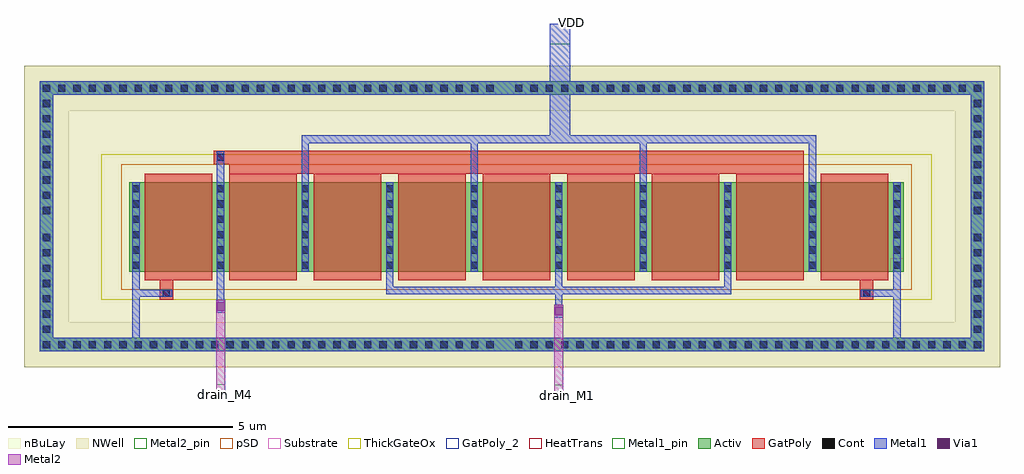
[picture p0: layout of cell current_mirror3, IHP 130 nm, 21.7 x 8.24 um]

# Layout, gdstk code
from math import pi, radians
import gdstk
lib = gdstk.Library(unit=1e-6, precision=5e-09)
def R(c, l, rs):  # rectangles x0, y0, x1, y1
    for r in rs: c.add(gdstk.rectangle(r[:2], r[2:], *l))
def A(c, l, x, y, w, h, nx, ny, dx, dy):  # array of equal rectangles
    R(c, l, [(x+i*dx, y+j*dy, x+i*dx+w, y+j*dy+h) for i in range(nx) for j in range(ny)])
def P(c, l, *ps):  # polygons
    for p in ps: c.add(gdstk.Polygon(p, *l))
Activ = (1, 0)
GatPoly = (5, 0)
GatPoly_2 = (5, 2)
Cont = (6, 0)
Metal1 = (8, 0)
Metal1_pin = (8, 2)
Metal2 = (10, 0)
Metal2_pin = (10, 2)
pSD = (14, 0)
Via1 = (19, 0)
NWell = (31, 0)
nBuLay = (32, 0)
Substrate = (40, 0)
ThickGateOx = (44, 0)
HeatTrans = (51, 0)

pmoshv_4 = lib.new_cell('pmosHV$4')
A(pmoshv_4, Activ, 0, 0, 0.3, 0.3, 10, 1, 1.88, 0)
R(pmoshv_4, Activ, [(0,0,17.22,2)])
A(pmoshv_4, GatPoly, 0.34, -0.18, 1.5, 2.36, 9, 1, 1.88, 0)
R(pmoshv_4, GatPoly_2, [(0.34,-0.18,1.84,2.18)])
A(pmoshv_4, Cont, 0.07, 0.07, 0.16, 0.16, 10, 6, 1.88, 0.34)
A(pmoshv_4, Metal1, 0.07, 0, 0.16, 2, 10, 1, 1.88, 0)
R(pmoshv_4, Metal1_pin, [(0.07,0,0.23,2), (1.95,0,2.11,2)])
R(pmoshv_4, pSD, [(-0.18,-0.4,17.4,2.4)])
R(pmoshv_4, NWell, [(-0.62,-0.62,17.84,2.62)])
R(pmoshv_4, Substrate, [(16.92,0,17.22,0.3)])
R(pmoshv_4, ThickGateOx, [(-0.62,-0.62,17.84,2.62)])
A(pmoshv_4, HeatTrans, 0.34, -0.18, 1.5, 2.36, 9, 1, 1.88, 0)
pmoshv_4.add(gdstk.Label('pmosHV', (1.09,1), layer=63, texttype=0))
pmoshv_4.add(gdstk.Label('pmos', (1.09,1), layer=51, texttype=0))
pmoshv_4.add(gdstk.Label('pmos', (2.97,1), layer=51, texttype=0))
pmoshv_4.add(gdstk.Label('pmos', (4.85,1), layer=51, texttype=0))
pmoshv_4.add(gdstk.Label('pmos', (6.73,1), layer=51, texttype=0))
pmoshv_4.add(gdstk.Label('pmos', (8.61,1), layer=51, texttype=0))
pmoshv_4.add(gdstk.Label('pmos', (10.49,1), layer=51, texttype=0))
pmoshv_4.add(gdstk.Label('pmos', (12.37,1), layer=51, texttype=0))
pmoshv_4.add(gdstk.Label('pmos', (14.25,1), layer=51, texttype=0))
pmoshv_4.add(gdstk.Label('pmos', (16.13,1), layer=51, texttype=0))

guard_ring_10 = lib.new_cell('guard_ring$10')
R(guard_ring_10, Activ, [(-10.5,-2.7,-10.2,2.7), (10.2,-2.7,10.5,2.7), (-10.5,2.7,10.5,3)])
P(guard_ring_10, Activ, [(-10.5,-3),(-10.5,2.7),(-10.2,2.7),(-10.2,-2.7),(10.2,-2.7),(10.2,2.7),(-10.5,2.7),(-10.5,3),(10.5,3),(10.5,-3)])
A(guard_ring_10, Cont, -10.43, -2.93, 0.16, 0.16, 30, 2, 0.34, 5.7)
A(guard_ring_10, Cont, 0.07, -2.93, 0.16, 0.16, 31, 2, 0.34, 5.7)
A(guard_ring_10, Cont, -10.43, -2.59, 0.16, 0.16, 1, 7, 0, 0.34)
A(guard_ring_10, Cont, 10.27, -2.59, 0.16, 0.16, 1, 7, 0, 0.34)
A(guard_ring_10, Cont, -10.43, 0.05, 0.16, 0.16, 1, 8, 0, 0.34)
A(guard_ring_10, Cont, 10.27, 0.05, 0.16, 0.16, 1, 8, 0, 0.34)
R(guard_ring_10, Metal1, [(-10.5,-3,10.5,-2.7), (-10.5,-2.7,-10.2,2.7), (10.2,-2.7,10.5,2.7), (-10.5,2.7,10.5,3)])
R(guard_ring_10, NWell, [(-10.85,-3.35,10.85,3.35)])
R(guard_ring_10, nBuLay, [(-10.85,-2.35,-9.85,2.35), (9.85,-2.35,10.85,2.35), (-10.85,2.35,10.85,3.35)])
P(guard_ring_10, nBuLay, [(-10.85,-3.35),(-10.85,2.35),(-9.85,2.35),(-9.85,-2.35),(9.85,-2.35),(9.85,2.35),(-10.85,2.35),(-10.85,3.35),(10.85,3.35),(10.85,-3.35)])
guard_ring_10.add(gdstk.Label('well', (0,-2.85), layer=63, texttype=0))

via_stack = lib.new_cell('via_stack')
R(via_stack, Metal1, [(-0.145,-0.105,0.145,0.105)])
R(via_stack, Metal2, [(-0.145,-0.1,0.145,0.1)])
R(via_stack, Via1, [(-0.095,-0.095,0.095,0.095)])

via_stack_5 = lib.new_cell('via_stack$5')
R(via_stack_5, GatPoly, [(-0.15,-0.15,0.15,0.15)])
R(via_stack_5, Cont, [(-0.08,-0.08,0.08,0.08)])
R(via_stack_5, Metal1, [(-0.13,-0.08,0.13,0.08)])

current_mirror3 = lib.new_cell('current_mirror3')
R(current_mirror3, GatPoly, [(0.275,0.595,0.575,1.215), (0.275,0.595,0.575,1.215), (15.845,0.595,16.145,1.215), (15.845,0.595,16.145,1.215), (1.82,3.395,14.6,3.915), (1.48,3.615,2.02,3.915)])
R(current_mirror3, Metal1, [(-0.33,-0.55,-0.17,0.825), (16.59,-0.55,16.75,0.825), (9.045,0.2,9.255,0.49), (9.07,0.2,9.23,1.445), (1.53,0.305,1.74,0.595), (1.55,0.305,1.71,1.445), (-0.33,0.665,0.555,0.825), (-0.33,0.665,0.555,0.825), (-0.33,0.665,-0.17,1.445), (-0.33,0.665,-0.17,1.445), (15.865,0.665,16.75,0.825), (15.865,0.665,16.75,0.825), (16.59,0.665,16.75,1.445), (16.59,0.665,16.75,1.445), (5.31,0.725,12.99,0.885), (5.31,0.725,5.47,1.445), (12.83,0.725,12.99,1.445), (10.95,2.98,11.11,4.25), (1.55,2.985,1.71,3.895), (3.43,2.985,3.59,4.25), (7.19,2.985,7.35,4.25), (14.71,2.985,14.87,4.25), (3.43,4.08,14.87,4.25), (8.95,4.08,9.4,6.735)])
R(current_mirror3, Metal1_pin, [(8.95,6.28,9.4,6.735)])
R(current_mirror3, Metal2, [(1.535,-1.505,1.735,0.595), (9.05,-1.5,9.25,0.49)])
R(current_mirror3, Metal2_pin, [(1.535,-1.505,1.735,-1.285), (9.05,-1.5,9.25,-1.295)])
current_mirror3.add(gdstk.Reference(pmoshv_4, (-0.4,1.215)))
current_mirror3.add(gdstk.Reference(guard_ring_10, (8.11,2.45)))
current_mirror3.add(gdstk.Reference(via_stack, (9.15,0.345), rotation=pi/2))
current_mirror3.add(gdstk.Reference(via_stack_5, (15.995,0.745)))
current_mirror3.add(gdstk.Reference(via_stack_5, (15.995,0.745)))
current_mirror3.add(gdstk.Reference(via_stack_5, (0.425,0.745), rotation=pi, x_reflection=True))
current_mirror3.add(gdstk.Reference(via_stack_5, (0.425,0.745), rotation=pi, x_reflection=True))
current_mirror3.add(gdstk.Reference(via_stack_5, (1.63,3.765), rotation=3*pi/2))
current_mirror3.add(gdstk.Reference(via_stack, (1.635,0.45), rotation=pi/2))
current_mirror3.add(gdstk.Label('VDD', (9.44,6.76), layer=8, texttype=0))
current_mirror3.add(gdstk.Label('drain_M1', (9.35,-1.535), layer=10, texttype=0))
current_mirror3.add(gdstk.Label('drain_M4', (1.735,-1.505), layer=10, texttype=0))

lib.write_gds('current_mirror3.gds')
